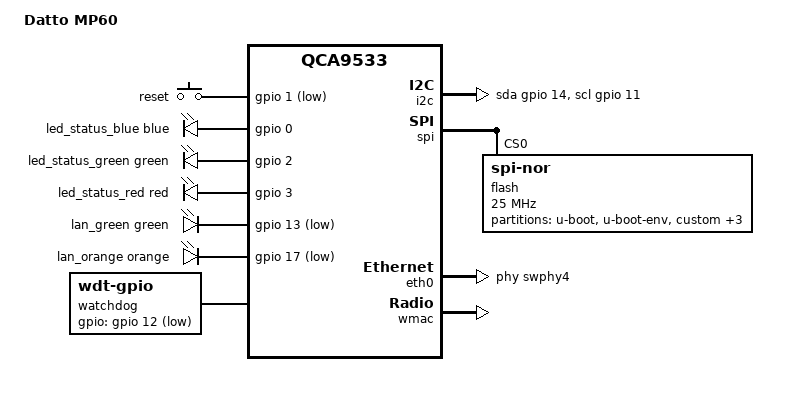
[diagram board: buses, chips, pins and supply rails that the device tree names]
// SPDX-License-Identifier: GPL-2.0-or-later OR MIT

#include "qca953x.dtsi"

#include <dt-bindings/gpio/gpio.h>
#include <dt-bindings/input/input.h>
#include <dt-bindings/leds/common.h>

/ {
	compatible = "datto,mp60", "qca,qca9533";
	model = "Datto MP60";

	chosen {
		/delete-property/ bootargs;
	};

	aliases {
		led-boot = &led_status_blue;
		led-failsafe = &led_status_red;
		led-running = &led_status_blue;
		led-upgrade = &led_status_green;
		label-mac-device = &eth0;
	};

	keys {
		compatible = "gpio-keys";

		pinctrl-names = "default";
		pinctrl-0 = <&jtag_disable_pins>;

		reset {
			label = "reset";
			linux,code = <KEY_RESTART>;
			gpios = <&gpio 1 GPIO_ACTIVE_LOW>;
		};
	};

	leds {
		compatible = "gpio-leds";

		pinctrl-names = "default";
		pinctrl-0 = <&led_pins>;

		led_status_blue: status_blue {
			function = LED_FUNCTION_STATUS;
			color = <LED_COLOR_ID_BLUE>;
			gpios = <&gpio 0 GPIO_ACTIVE_HIGH>;
			default-state = "on";
		};

		led_status_green: status_green {
			function = LED_FUNCTION_STATUS;
			color = <LED_COLOR_ID_GREEN>;
			gpios = <&gpio 2 GPIO_ACTIVE_HIGH>;
		};

		led_status_red: status_red {
			function = LED_FUNCTION_STATUS;
			color = <LED_COLOR_ID_RED>;
			gpios = <&gpio 3 GPIO_ACTIVE_HIGH>;
		};

		lan_green {
			function = LED_FUNCTION_LAN;
			color = <LED_COLOR_ID_GREEN>;
			gpios = <&gpio 13 GPIO_ACTIVE_LOW>;
		};

		lan_orange {
			function = LED_FUNCTION_LAN;
			color = <LED_COLOR_ID_ORANGE>;
			gpios = <&gpio 17 GPIO_ACTIVE_LOW>;
		};
	};

	watchdog {
		compatible = "linux,wdt-gpio";
		gpios = <&gpio 12 GPIO_ACTIVE_LOW>;
		hw_algo = "toggle";
		hw_margin_ms = <10000>;
		always-running;
	};

	i2c {
		compatible = "i2c-gpio";

		pinctrl-names = "default";
		pinctrl-0 = <&i2c_pins>;

		sda-gpios = <&gpio 14 (GPIO_ACTIVE_HIGH | GPIO_OPEN_DRAIN)>;
		scl-gpios = <&gpio 11 (GPIO_ACTIVE_HIGH | GPIO_OPEN_DRAIN)>;
		i2c-gpio,delay-us = <5>;
		#address-cells = <1>;
		#size-cells = <0>;

		/* relay/metering MCU at 0x5c, driven from userspace via i2c-dev */
	};
};

&pinmux {
	led_pins: pinmux_led_pins {
		pinctrl-single,bits = <0x00 0x0 0xffff00ff>,
			<0x0c 0x0 0x0000ff00>,
			<0x10 0x0 0x0000ff00>;
	};

	i2c_pins: pinmux_i2c_pins {
		pinctrl-single,bits = <0x08 0x0 0xff000000>,
			<0x0c 0x0 0x00ff0000>,
			<0x40 0x0 0x20>;
	};
};

&spi {
	status = "okay";

	flash@0 {
		compatible = "jedec,spi-nor";
		reg = <0>;
		spi-max-frequency = <25000000>;

		/* partitions are passed via bootloader */
		partitions {
			compatible = "fixed-partitions";
			#address-cells = <1>;
			#size-cells = <1>;

			partition@0 {
				label = "u-boot";
				reg = <0x000000 0x040000>;
				read-only;
			};

			partition@40000 {
				label = "u-boot-env";
				reg = <0x040000 0x040000>;
			};

			partition@80000 {
				label = "custom";
				reg = <0x080000 0x140000>;
				read-only;
			};

			partition@1c0000 {
				label = "inactive";
				reg = <0x1c0000 0x700000>;
			};

			partition@8c0000 {
				label = "inactive2";
				reg = <0x8c0000 0x700000>;
			};

			partition@fc0000 {
				label = "ART";
				reg = <0xfc0000 0x040000>;
				read-only;

				nvmem-layout {
					compatible = "fixed-layout";
					#address-cells = <1>;
					#size-cells = <1>;

					macaddr_art_0: macaddr@0 {
						compatible = "mac-base";
						reg = <0x0 0x6>;
						#nvmem-cell-cells = <1>;
					};

					cal_art_1000: calibration@1000 {
						reg = <0x1000 0x440>;
					};
				};
			};
		};
	};
};

&eth0 {
	status = "okay";

	phy-handle = <&swphy4>;

	nvmem-cells = <&macaddr_art_0 0>;
	nvmem-cell-names = "mac-address";
};

&eth1 {
	/* GMAC1 is not wired to a port, but its MDIO bus is needed for eth0 */
	compatible = "syscon", "simple-mfd";
};

&wdt {
	/* the external GPIO watchdog is used instead */
	status = "disabled";
};

&wmac {
	status = "okay";

	nvmem-cells = <&macaddr_art_0 2>, <&cal_art_1000>;
	nvmem-cell-names = "mac-address", "calibration";
};
